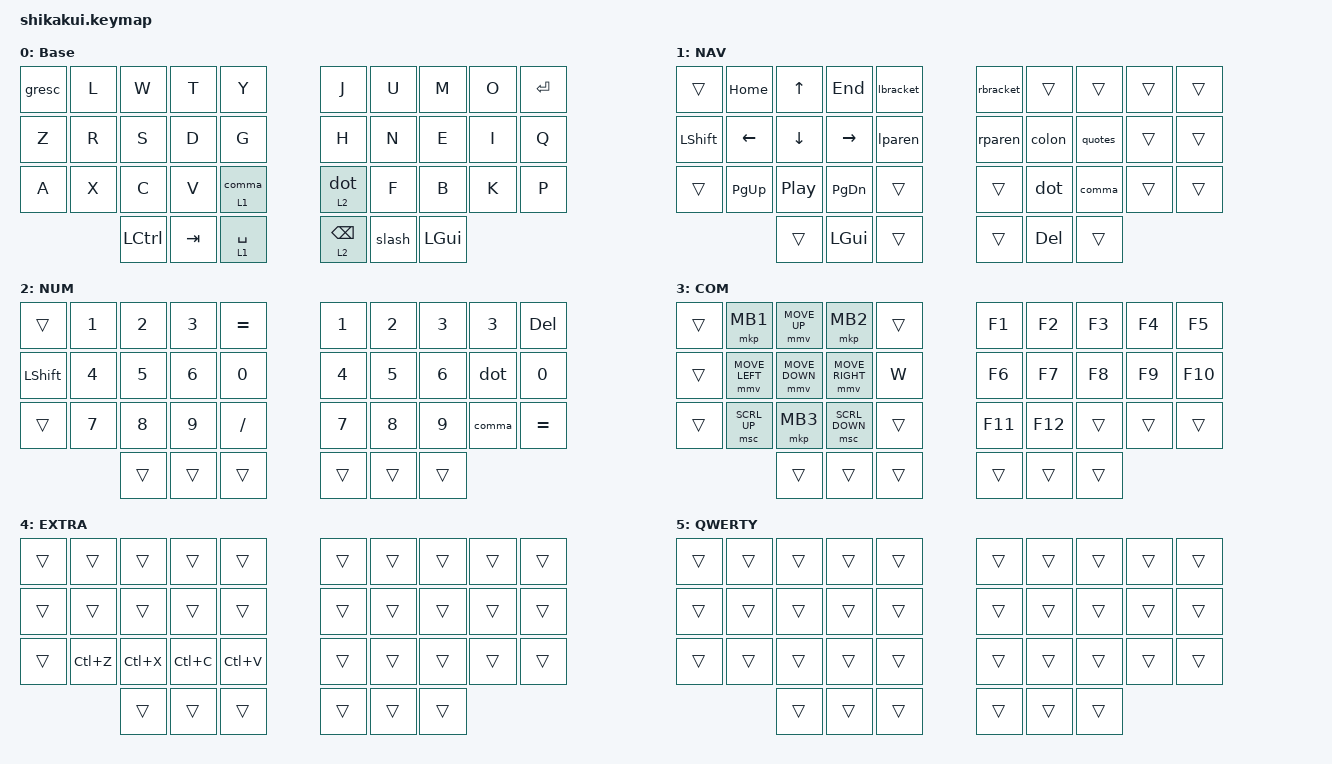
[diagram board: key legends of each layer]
#define ZMK_POINTING_DEFAULT_MOVE_VAL 2500  // default: 600
#define ZMK_POINTING_DEFAULT_SCRL_VAL 20    // default: 10

#include <behaviors/mouse_keys.dtsi>
#include <dt-bindings/zmk/mouse.h>
#include <behaviors.dtsi>
#include <dt-bindings/zmk/bt.h>
#include <dt-bindings/zmk/keys.h>
#include <dt-bindings/zmk/pointing.h>

#define TAPPING_TERM 200
#define U_MOUSE_MOVE_EXPONENT 1
#define U_MOUSE_MOVE_TIME 1500
#define U_MOUSE_MOVE_DELAY 0
#define U_MOUSE_SCROLL_EXPONENT 1
#define U_MOUSE_SCROLL_TIME 5000
#define U_MOUSE_SCROLL_DELAY 0

// Layer definitions

#define L0 0
#define L1 1
#define L2 2
#define L3 3
#define L4 4
#define L5 5
#define L6 6
#define L7 7
#define L8 8
#define L9 9

// Mouse movement configuration

&mmv {
    acceleration-exponent = <U_MOUSE_MOVE_EXPONENT>;
    time-to-max-speed-ms = <U_MOUSE_MOVE_TIME>;
    delay-ms = <U_MOUSE_MOVE_DELAY>;
};

&msc {
    acceleration-exponent = <U_MOUSE_SCROLL_EXPONENT>;
    time-to-max-speed-ms = <U_MOUSE_SCROLL_TIME>;
    delay-ms = <U_MOUSE_SCROLL_DELAY>;
};

/ {
    macros {
        // Bluetooth select with clear on shift

        ubt1: ubt1 {
            compatible = "zmk,behavior-macro";
            #binding-cells = <0>;
            wait-ms = <0>;
            tap-ms = <0>;
            bindings = <&bt BT_SEL 0 &bt BT_CLR>;
        };

        ubt2: ubt2 {
            compatible = "zmk,behavior-macro";
            #binding-cells = <0>;
            wait-ms = <0>;
            tap-ms = <0>;
            bindings = <&bt BT_SEL 1 &bt BT_CLR>;
        };

        ubt3: ubt3 {
            compatible = "zmk,behavior-macro";
            #binding-cells = <0>;
            wait-ms = <0>;
            tap-ms = <0>;
            bindings = <&bt BT_SEL 2 &bt BT_CLR>;
        };

        ubt4: ubt4 {
            compatible = "zmk,behavior-macro";
            #binding-cells = <0>;
            wait-ms = <0>;
            tap-ms = <0>;
            bindings = <&bt BT_SEL 3 &bt BT_CLR>;
        };
    };

    behaviors {
        mtc: mod_tap_custom {
            compatible = "zmk,behavior-hold-tap";
            #binding-cells = <2>;
            tapping-term-ms = <TAPPING_TERM>;
            flavor = "tap-preferred";
            bindings = <&kp &kp>;
        };

        ltc: layer_tap_custom {
            compatible = "zmk,behavior-hold-tap";
            #binding-cells = <2>;
            tapping-term-ms = <TAPPING_TERM>;
            quick-tap-ms = <TAPPING_TERM>;
            flavor = "tap-preferred";
            bindings = <&mo &kp>;
        };

        l1_comma: l1_comma {
            compatible = "zmk,behavior-hold-tap";
            #binding-cells = <2>;
            tapping-term-ms = <TAPPING_TERM>;
            quick-tap-ms = <TAPPING_TERM>;
            flavor = "tap-preferred";
            bindings = <&mo &comma>;
        };

        l2_dot: l2_dot {
            compatible = "zmk,behavior-hold-tap";
            #binding-cells = <2>;
            tapping-term-ms = <TAPPING_TERM>;
            quick-tap-ms = <TAPPING_TERM>;
            flavor = "tap-preferred";
            bindings = <&mo &dot>;
        };

        bspc: bspc {
            compatible = "zmk,behavior-mod-morph";
            label = "BSPC";
            bindings = <&kp BACKSPACE &kp DELETE>;

            #binding-cells = <0>;
            mods = <(MOD_LSFT|MOD_RSFT)>;
        };

        slash: slash {
            compatible = "zmk,behavior-mod-morph";
            label = "SLASH";
            bindings = <&kp SLASH &kp BACKSLASH>;

            #binding-cells = <0>;
            mods = <(MOD_LSFT|MOD_RSFT)>;
        };

        dot: dot {
            compatible = "zmk,behavior-mod-morph";
            label = "DOT";
            bindings = <&kp DOT &kp COLON>;

            #binding-cells = <0>;
            mods = <(MOD_LSFT|MOD_RSFT)>;
        };

        comma: comma {
            compatible = "zmk,behavior-mod-morph";
            label = "COMMA";
            bindings = <&kp COMMA &kp SEMI>;

            #binding-cells = <0>;
            mods = <(MOD_LSFT|MOD_RSFT)>;
        };

        lparen: lparen {
            compatible = "zmk,behavior-mod-morph";
            label = "LPAREN";
            bindings = <&kp LEFT_PARENTHESIS &kp LEFT_BRACE>;

            #binding-cells = <0>;
            mods = <(MOD_LSFT|MOD_RSFT)>;
        };

        rparen: rparen {
            compatible = "zmk,behavior-mod-morph";
            label = "RPAREN";
            bindings = <&kp RIGHT_PARENTHESIS &kp RIGHT_BRACE>;

            #binding-cells = <0>;
            mods = <(MOD_LSFT|MOD_RSFT)>;
        };

        lbracket: lbracket {
            compatible = "zmk,behavior-mod-morph";
            label = "LBRACKET";
            bindings = <&kp LEFT_BRACKET &kp LESS_THAN>;

            #binding-cells = <0>;
            mods = <(MOD_LSFT|MOD_RSFT)>;
        };

        rbracket: rbracket {
            compatible = "zmk,behavior-mod-morph";
            label = "RBRACKET";
            bindings = <&kp RIGHT_BRACKET &kp GREATER_THAN>;

            #binding-cells = <0>;
            mods = <(MOD_LSFT|MOD_RSFT)>;
        };

        colon: colon {
            compatible = "zmk,behavior-mod-morph";
            label = "COLON";
            bindings = <&kp COLON &kp SEMI>;

            #binding-cells = <0>;
            mods = <(MOD_LSFT|MOD_RSFT)>;
        };

        quotes: quotes {
            compatible = "zmk,behavior-mod-morph";
            label = "QUOTES";
            bindings = <&kp SINGLE_QUOTE &kp DOUBLE_QUOTES>;

            #binding-cells = <0>;
            mods = <(MOD_LSFT|MOD_RSFT)>;
        };
    };

    //    combos {
    //        compatible = "zmk,combos";
    //
    //       ComboLayer {
    //            timeout-ms = <250>;
    //            slow-release;
    //            bindings = <&mo L3>;
    //            key-positions = <32 33>;
    //        };
    //    };

    keymap {
        compatible = "zmk,keymap";

        NOR {
            display-name = "Base";
            bindings = <
&gresc  &kp L  &kp W      &kp T    &kp Y             &kp J              &kp U   &kp M     &kp O  &kp ENTER
&kp Z   &kp R  &kp S      &kp D    &kp G             &kp H              &kp N   &kp E     &kp I  &kp Q
&kp A   &kp X  &kp C      &kp V    &l1_comma L1 0    &l2_dot L2 0       &kp F   &kp B     &kp K  &kp P
               &kp LCTRL  &kp TAB  &ltc L1 SPACE     &ltc L2 BACKSPACE  &slash  &kp LGUI
            >;
        };

        NAV {
            bindings = <
&trans          &kp HOME        &kp UP_ARROW  &kp END        &lbracket    &rbracket  &trans   &trans   &trans  &trans
&kp LEFT_SHIFT  &kp LEFT_ARROW  &kp DOWN      &kp RIGHT      &lparen      &rparen    &colon   &quotes  &trans  &trans
&trans          &kp PAGE_UP     &kp C_PP      &kp PAGE_DOWN  &trans       &trans     &dot     &comma   &trans  &trans
                                &trans        &kp LEFT_GUI   &trans       &trans     &kp DEL  &trans
            >;
        };

        NUM {
            bindings = <
&trans          &kp N1  &kp N2  &kp N3  &kp EQUAL    &kp NUMBER_1  &kp NUMBER_2  &kp NUMBER_3  &kp NUMBER_3  &kp DEL
&kp LEFT_SHIFT  &kp N4  &kp N5  &kp N6  &kp N0       &kp NUMBER_4  &kp N5        &kp NUMBER_6  &dot          &kp N0
&trans          &kp N7  &kp N8  &kp N9  &kp SLASH    &kp N7        &kp N8        &kp N9        &comma        &kp EQUAL
                        &trans  &trans  &trans       &trans        &trans        &trans
            >;
        };

        COM {
            bindings = <
&trans  &mkp MB1        &mmv MOVE_UP    &mkp MB2         &trans    &kp F1   &kp F2   &kp F3  &kp F4  &kp F5
&trans  &mmv MOVE_LEFT  &mmv MOVE_DOWN  &mmv MOVE_RIGHT  &kp W     &kp F6   &kp F7   &kp F8  &kp F9  &kp F10
&trans  &msc SCRL_UP    &mkp MB3        &msc SCRL_DOWN   &trans    &kp F11  &kp F12  &trans  &trans  &trans
                        &trans          &trans           &trans    &trans   &trans   &trans
            >;
        };

        EXTRA {
            bindings = <
&trans  &trans     &trans     &trans     &trans       &trans  &trans  &trans  &trans  &trans
&trans  &trans     &trans     &trans     &trans       &trans  &trans  &trans  &trans  &trans
&trans  &kp LC(Z)  &kp LC(X)  &kp LC(C)  &kp LC(V)    &trans  &trans  &trans  &trans  &trans
                   &trans     &trans     &trans       &trans  &trans  &trans
            >;
        };

        QWERTY {
            bindings = <
&trans  &trans  &trans  &trans  &trans    &trans  &trans  &trans  &trans  &trans
&trans  &trans  &trans  &trans  &trans    &trans  &trans  &trans  &trans  &trans
&trans  &trans  &trans  &trans  &trans    &trans  &trans  &trans  &trans  &trans
                &trans  &trans  &trans    &trans  &trans  &trans
            >;
        };
    };
};
